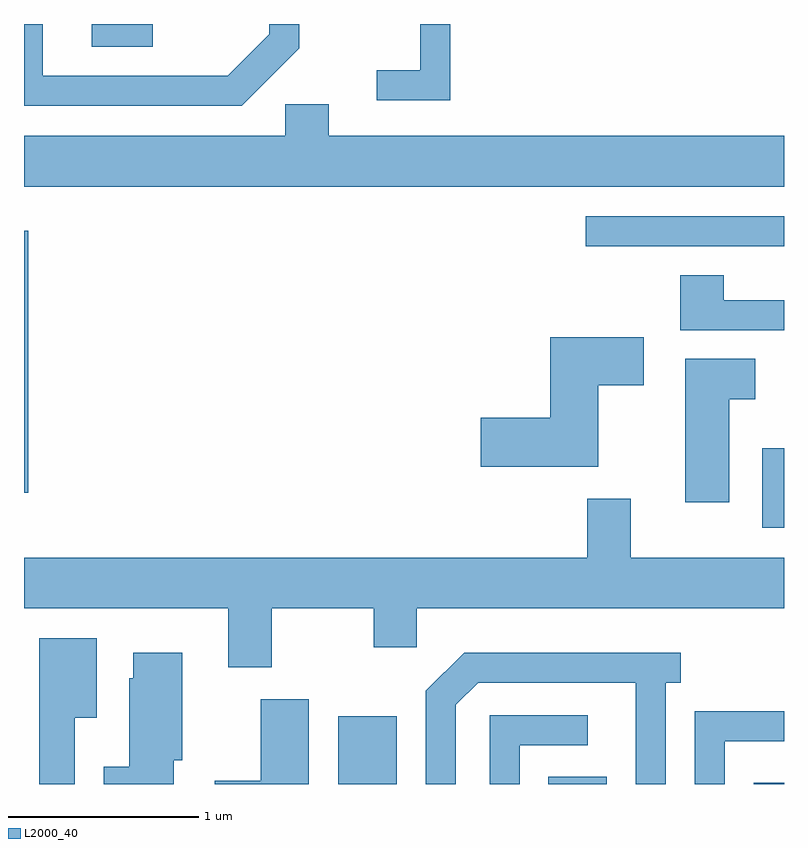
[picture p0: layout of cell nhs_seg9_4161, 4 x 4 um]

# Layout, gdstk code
import gdstk
lib = gdstk.Library(unit=1e-6, precision=1e-09)
def R(c, l, rs):  # rectangles x0, y0, x1, y1
    for r in rs: c.add(gdstk.rectangle(r[:2], r[2:], *l))
def P(c, l, *ps):  # polygons
    for p in ps: c.add(gdstk.Polygon(p, *l))
L2000_40 = (2000, 40)

nhs_seg9_4161 = lib.new_cell('nhs_seg9_4161')
R(nhs_seg9_4161, L2000_40, [(309.266,2006.432,309.574,2006.789), (310.371,2006.432,310.679,2006.469), (311.451,2006.432,311.611,2006.439), (311.496,2007.781,311.611,2008.199), (307.611,2007.966,307.634,2009.344), (310.568,2009.261,311.611,2009.419), (307.968,2010.311,308.289,2010.432)])
P(nhs_seg9_4161, L2000_40, [(309.059,2010.304),(309.059,2010.432),(308.901,2010.432),(308.901,2010.377),(308.684,2010.159),(307.709,2010.159),(307.709,2010.432),(307.611,2010.432),(307.611,2010.001),(308.757,2010.001)],
  [(309.854,2010.432),(309.696,2010.432),(309.696,2010.189),(309.468,2010.189),(309.468,2010.031),(309.854,2010.031)],
  [(311.611,2009.844),(309.214,2009.844),(309.214,2010.009),(308.986,2010.009),(308.986,2009.844),(307.611,2009.844),(307.611,2009.576),(311.611,2009.576)],
  [(311.611,2008.979),(311.294,2008.979),(311.294,2009.109),(311.066,2009.109),(311.066,2008.821),(311.611,2008.821)],
  [(310.634,2008.531),(310.874,2008.531),(310.874,2008.784),(310.381,2008.784),(310.381,2008.359),(310.016,2008.359),(310.016,2008.101),(310.634,2008.101)],
  [(311.324,2008.456),(311.459,2008.456),(311.459,2008.669),(311.091,2008.669),(311.091,2007.916),(311.324,2007.916)],
  [(308.914,2007.356),(309.451,2007.356),(309.451,2007.151),(309.679,2007.151),(309.679,2007.356),(311.611,2007.356),(311.611,2007.624),(310.804,2007.624),(310.804,2007.934),(310.576,2007.934),(310.576,2007.624),(307.611,2007.624),(307.611,2007.356),(308.686,2007.356),(308.686,2007.046),(308.914,2007.046)],
  [(307.879,2006.781),(307.994,2006.781),(307.994,2007.199),(307.691,2007.199),(307.691,2006.432),(307.879,2006.432)],
  [(308.399,2006.556),(308.444,2006.556),(308.444,2007.124),(308.186,2007.124),(308.186,2006.989),(308.166,2006.989),(308.166,2006.524),(308.031,2006.524),(308.031,2006.432),(308.399,2006.432)],
  [(309.884,2006.849),(310.002,2006.966),(310.831,2006.966),(310.831,2006.432),(310.989,2006.432),(310.989,2006.966),(311.068,2006.966),(311.068,2007.124),(309.929,2007.124),(309.726,2006.922),(309.726,2006.432),(309.884,2006.432)],
  [(309.109,2006.879),(308.856,2006.879),(308.856,2006.449),(308.616,2006.449),(308.616,2006.432),(309.109,2006.432)],
  [(311.299,2006.656),(311.611,2006.656),(311.611,2006.814),(311.141,2006.814),(311.141,2006.432),(311.299,2006.432)],
  [(310.219,2006.636),(310.578,2006.636),(310.578,2006.794),(310.061,2006.794),(310.061,2006.432),(310.219,2006.432)])

lib.write_gds('nhs_seg9_4161.gds')
